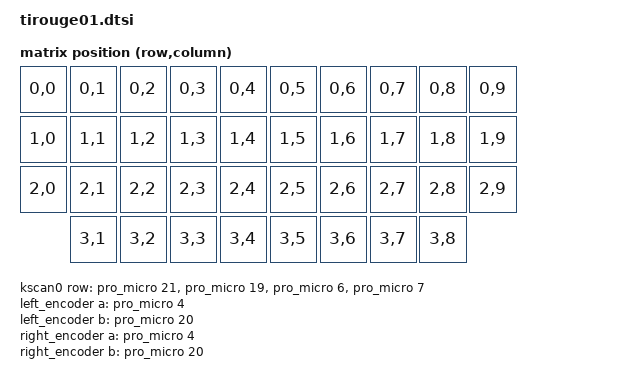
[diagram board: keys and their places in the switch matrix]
/*
 * Copyright (c) 2022 The ZMK Contributors
 *
 * SPDX-License-Identifier: MIT
 */

#include <dt-bindings/zmk/matrix_transform.h>
#include "tirouge01-layouts.dtsi"

// pulled from nice_nano overlay in the nice_view_adapter. Pins have been changed for tirouge01
&pinctrl {
    spi0_default: spi0_default {
        group1 {
            psels
                = <NRF_PSEL(SPIM_SCK, 0, 3)>
                , <NRF_PSEL(SPIM_MOSI, 0, 2)>
                ;
        };
    };
    spi0_sleep: spi0_sleep {
        group1 {
            psels
                = <NRF_PSEL(SPIM_SCK, 0, 3)>
                , <NRF_PSEL(SPIM_MOSI, 0, 2)>
                ;
            low-power-enable;
        };
    };
};

nice_view_spi: &spi0 {
    compatible = "nordic,nrf-spim";
    pinctrl-0 = <&spi0_default>;
    pinctrl-1 = <&spi0_sleep>;
    pinctrl-names = "default", "sleep";
    cs-gpios = <&pro_micro 1 GPIO_ACTIVE_HIGH>;
};

&pro_micro_i2c {
    status = "disabled";
};

/ {
    chosen {
        zmk,kscan = &kscan0;
        zmk,physical-layout = &tirouge01_physical_layout;
    };

    kscan0: kscan0 {
        compatible = "zmk,kscan-gpio-matrix";
        diode-direction = "row2col";
        wakeup-source;
        row-gpios
            = <&pro_micro 21 GPIO_ACTIVE_HIGH>
            , <&pro_micro 19 GPIO_ACTIVE_HIGH>
            , <&pro_micro 6  GPIO_ACTIVE_HIGH>
            , <&pro_micro 7  GPIO_ACTIVE_HIGH>
            ;
    };
    
    default_transform: keymap_transform0 {
        compatible = "zmk,matrix-transform";
        columns = <10>;
        rows = <4>;
// | SW1  | SW2  | SW3  | SW4  | SW5  |      | SW19 | SW20 | SW21 | SW22 | SW23 |
// | SW6  | SW7  | SW8  | SW9  | SW10 |      | SW24 | SW25 | SW26 | SW27 | SW28 |
// | SW11 | SW12 | SW13 | SW14 | SW15 |      | SW29 | SW30 | SW31 | SW32 | SW33 |
//               | SW16 | SW17 | SW18 |      | SW34 | SW35 | SW36 |
        map = <
RC(0,0)  RC(0,1)  RC(0,2)  RC(0,3)  RC(0,4)     RC(0,5)  RC(0,6)  RC(0,7)  RC(0,8)  RC(0,9)
RC(1,0)  RC(1,1)  RC(1,2)  RC(1,3)  RC(1,4)     RC(1,5)  RC(1,6)  RC(1,7)  RC(1,8)  RC(1,9)
RC(2,0)  RC(2,1)  RC(2,2)  RC(2,3)  RC(2,4)     RC(2,5)  RC(2,6)  RC(2,7)  RC(2,8)  RC(2,9)
         RC(3,1)  RC(3,2)  RC(3,3)  RC(3,4)     RC(3,5)  RC(3,6)  RC(3,7)  RC(3,8)
        >;
    };

    left_encoder: left_encoder {
        compatible = "alps,ec11";
        a-gpios = <&pro_micro 4 (GPIO_ACTIVE_HIGH | GPIO_PULL_UP)>;
        b-gpios = <&pro_micro 20 (GPIO_ACTIVE_HIGH | GPIO_PULL_UP)>;
        steps = <30>;
    };

    right_encoder: right_encoder {
        compatible = "alps,ec11";
        a-gpios = <&pro_micro 4 (GPIO_ACTIVE_HIGH | GPIO_PULL_UP)>;
        b-gpios = <&pro_micro 20 (GPIO_ACTIVE_HIGH | GPIO_PULL_UP)>;
        steps = <30>;
    };

    sensors: sensors {
        compatible = "zmk,keymap-sensors";
        sensors = <&left_encoder &right_encoder>;
        triggers-per-rotation = <20>;
    };

};
